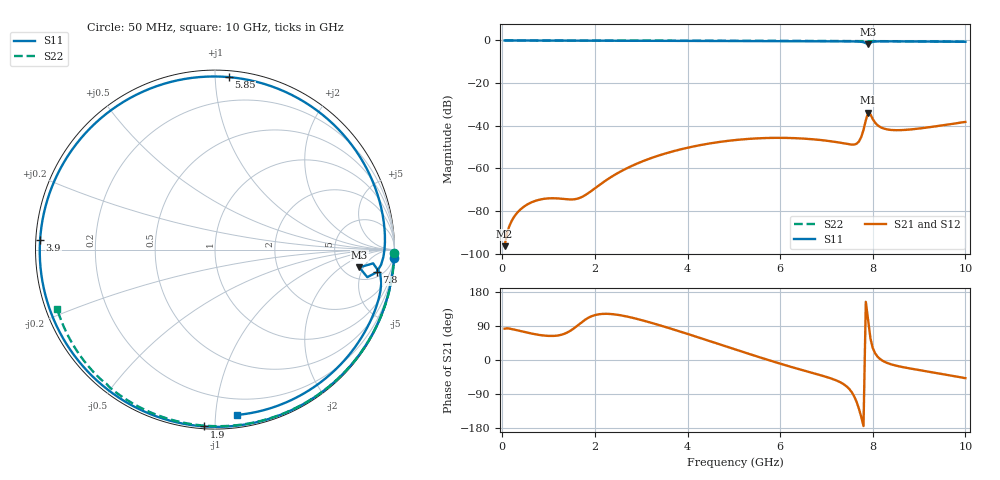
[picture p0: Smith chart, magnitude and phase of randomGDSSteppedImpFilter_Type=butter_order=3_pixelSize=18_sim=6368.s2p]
! freq	dB(S11)	phase(S11)	dB(S12)	phase(S12)
!  dB(S21)	phase(S21)	dB(S22)	phase(S22)
!S-par simulation data
#  GHz  S  DB  R 50
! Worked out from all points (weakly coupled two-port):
!   200 points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, 50 MHz to 10 GHz, reference 50 ohm
!   highest |S21| = -33.77 dB at 7.9 GHz (marker M1); lowest = -96.4 dB at 50 MHz (marker M2)
!   lowest |S11| = -1.8 dB at 7.9 GHz (marker M3), VSWR 9.56, Z = 357 - j206 ohm
!   |S11| at or under -10 dB: nowhere
!   |S22| runs from -0.5 to 0.0 dB; largest |S21 - S12| = 0
!   S11 on the Smith chart (normalised r, x): 50 MHz: 1, -43; 1.9 GHz: 0.01, -0.94; 3.9 GHz: 0.01, +0.03; 5.85 GHz: 0.04, +1.08; 7.8 GHz: 7, -10; 10 GHz: 0.08, -1.14
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0.05  -0.01 -2.6  -96.40 82.6  -96.40 82.6  -0.01 -1.0
0.35  -0.03 -17.9  -80.08 77.6  -80.08 77.6  -0.01 -6.4
0.65  -0.05 -33.0  -75.68 69.3  -75.68 69.3  -0.02 -11.9
1  -0.06 -50.4  -73.99 63.6  -73.99 63.6  -0.02 -18.2
1.75  -0.11 -86.4  -73.00 103.0  -73.00 103.0  -0.04 -31.7
1.9  -0.11 -93.4  -70.89 114.0  -70.89 114.0  -0.04 -34.3
2.6  -0.15 -125.3  -60.88 117.0  -60.88 117.0  -0.06 -46.5
3.4  -0.19 -160.8  -53.77 91.6  -53.77 91.6  -0.08 -60.0
3.9  -0.21 176.9  -50.78 72.7  -50.78 72.7  -0.09 -68.3
4.45  -0.24 152.0  -48.37 51.1  -48.37 51.1  -0.11 -77.1
5.05  -0.28 124.0  -46.63 27.1  -46.63 27.1  -0.13 -86.6
5.85  -0.32 85.4  -45.65 -4.0  -45.65 -4.0  -0.17 -98.8
6.7  -0.35 44.3  -46.30 -34.2  -46.30 -34.2  -0.22 -111.4
7.15  -0.38 23.2  -47.41 -50.9  -47.41 -50.9  -0.25 -118.0
7.6  -0.47 2.4  -48.78 -96.3  -48.78 -96.3  -0.28 -124.5
7.7  -0.55 -2.5  -47.37 -128.3  -47.37 -128.3  -0.29 -126.0
7.8  -0.82 -8.0  -41.92 -174.5  -41.92 -174.5  -0.30 -127.5
7.9  -1.82 -7.0  -33.77 104.3  -33.77 104.3  -0.34 -128.8
8.1  -0.44 -14.1  -39.65 9.3  -39.65 9.3  -0.33 -131.6
8.35  -0.42 -25.2  -41.82 -9.6  -41.82 -9.6  -0.35 -135.2
9.15  -0.50 -54.7  -40.87 -29.5  -40.87 -29.5  -0.43 -146.8
10  -0.64 -82.5  -38.16 -48.0  -38.16 -48.0  -0.54 -159.3
